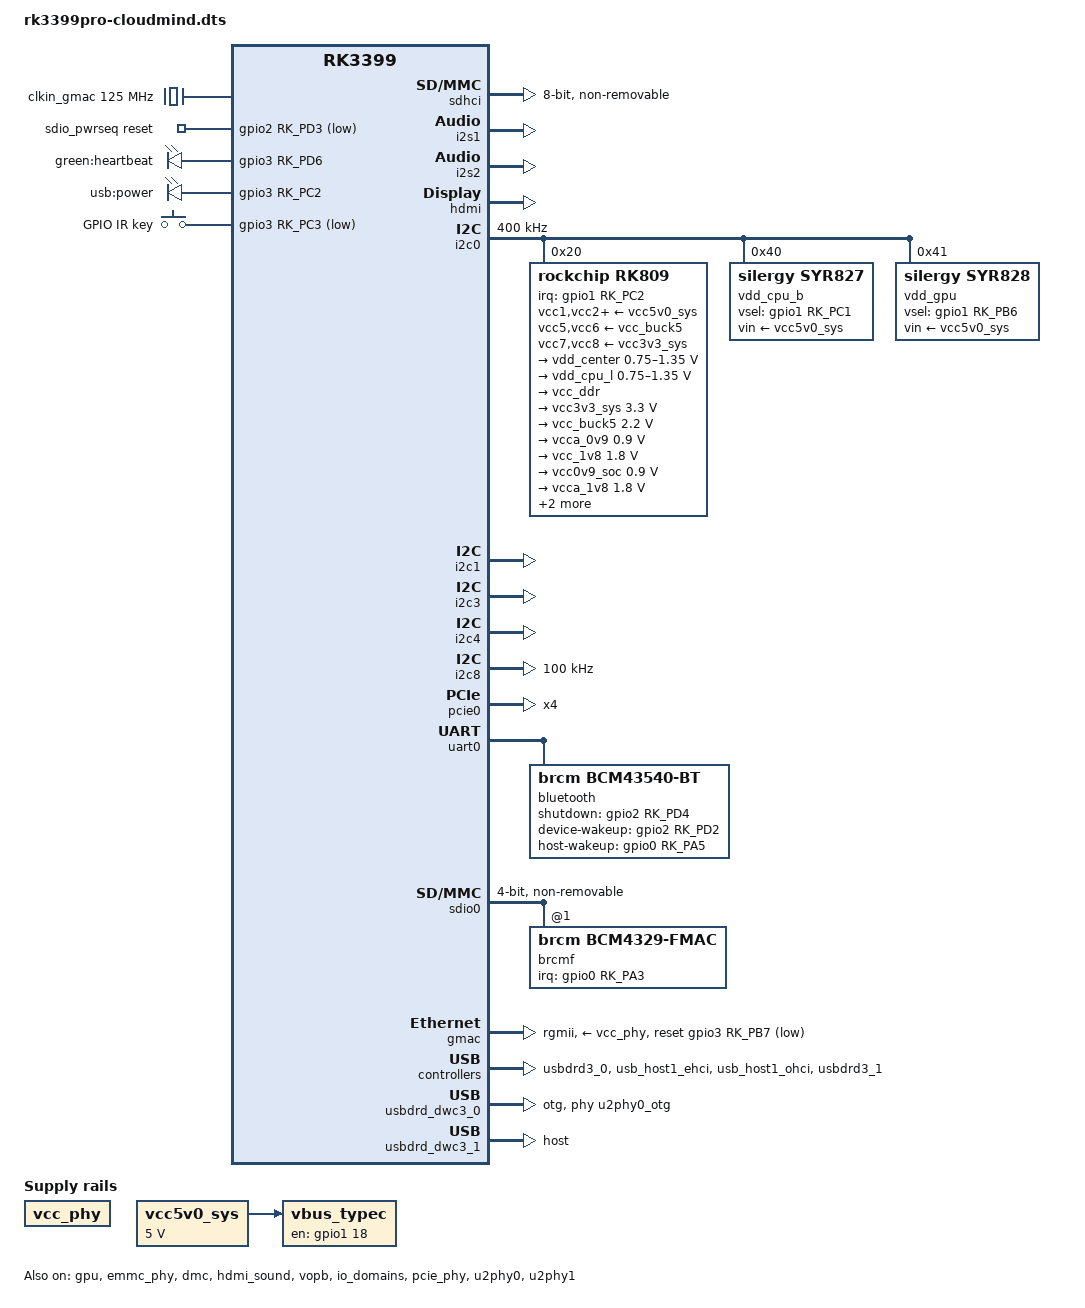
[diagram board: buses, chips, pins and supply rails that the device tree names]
// SPDX-License-Identifier: (GPL-2.0+ OR MIT)
/*
 * Copyright (c) 2019 Fuzhou Rockchip Electronics Co., Ltd
 * Copyright (c) 2019 Radxa Limited
 * Copyright (c) 2019 Amarula Solutions(India)
 */

/dts-v1/;
#include "rk3399.dtsi"
#include <dt-bindings/pwm/pwm.h>

/ {
	compatible = "rockchip,rk3399pro-evb-v11-linux", "rockchip,rk3399pro";
	chosen {
		stdout-path = "serial2:1500000n8";
	};
	clkin_gmac: external-gmac-clock {
		compatible = "fixed-clock";
		clock-frequency = <125000000>;
		clock-output-names = "clkin_gmac";
		#clock-cells = <0>;
	};

	fiq_debugger: fiq-debugger {
		compatible = "rockchip,fiq-debugger";
		rockchip,serial-id = <2>;
		rockchip,wake-irq = <0>;
		rockchip,irq-mode-enable = <0>;  /* If enable uart uses irq instead of fiq */
		rockchip,baudrate = <1500000>;  /* Only 115200 and 1500000 */
		pinctrl-names = "default";
		pinctrl-0 = <&uart2c_xfer>;
		interrupts = <GIC_SPI 150 IRQ_TYPE_LEVEL_HIGH 0>;
	};

	sdio_pwrseq: sdio-pwrseq {
		compatible = "mmc-pwrseq-simple";
		clocks = <&rk809 1>;
		clock-names = "ext_clock";
		pinctrl-names = "default";
		pinctrl-0 = <&wifi_enable_h>;

		/*
		 * On the module itself this is one of these (depending
		 * on the actual card populated):
		 * - SDIO_RESET_L_WL_REG_ON
		 * - PDN (power down when low)
		 */
		reset-gpios = <&gpio2 RK_PD3 GPIO_ACTIVE_LOW>;
	};


	vbus_typec: vbus-typec-regulator {
		compatible = "regulator-fixed";
		enable-active-high;
		gpio = <&gpio1 18 GPIO_ACTIVE_HIGH>;
		pinctrl-names = "default";
		pinctrl-0 = <&vcc5v0_typec0_en>;
		regulator-name = "vbus_typec";
		vin-supply = <&vcc5v0_sys>;
	};

	vcc_phy: vcc-phy-regulator {
		compatible = "regulator-fixed";
		regulator-name = "vcc_phy";
		regulator-always-on;
		regulator-boot-on;
	};

	vcc5v0_sys: vccsys {
		compatible = "regulator-fixed";
		regulator-name = "vcc5v0_sys";
		regulator-always-on;
		regulator-boot-on;
		regulator-min-microvolt = <5000000>;
		regulator-max-microvolt = <5000000>;
	};

	dw_hdmi_audio: dw-hdmi-audio {
		status = "okay";
		compatible = "rockchip,dw-hdmi-audio";
		#sound-dai-cells = <0>;
	};

	leds {
		compatible = "gpio-leds";
		pinctrl-names = "default";
		pinctrl-0 = <&work_led_pin &usb_power_pin>;
		work_led: led-0 {
			label = "green:heartbeat";
			linux,default-trigger = "heartbeat";
			gpios = <&gpio3 RK_PD6 GPIO_ACTIVE_HIGH>;
		};

		usb_pwr: usb-pwr {
			label = "usb:power";
			gpios = <&gpio3 RK_PC2 GPIO_ACTIVE_HIGH>;
		};
	};

	gpio-keys {
		compatible = "gpio-keys";
		autorepeat;
		pinctrl-names = "default";
		pinctrl-0 = <&ir_gpio_key>;

		key-power {
			debounce-interval = <100>;
			gpios = <&gpio3 RK_PC3 GPIO_ACTIVE_LOW>;
			label = "GPIO IR key";
		};
	};
};

&cpu_l0 {
	cpu-supply = <&vdd_cpu_l>;
};

&cpu_l1 {
	cpu-supply = <&vdd_cpu_l>;
};

&cpu_l2 {
	cpu-supply = <&vdd_cpu_l>;
};

&cpu_l3 {
	cpu-supply = <&vdd_cpu_l>;
};

&cpu_b0 {
	cpu-supply = <&vdd_cpu_b>;
};

&cpu_b1 {
	cpu-supply = <&vdd_cpu_b>;
};

&gpu {
	status = "okay";
	mali-supply = <&vdd_gpu>;
};

&sdhci {
	bus-width = <8>;
	mmc-hs400-1_8v;
	mmc-hs400-enhanced-strobe;
	non-removable;
	keep-power-in-suspend;
	status = "okay";
};

&emmc_phy {
	status = "okay";
};


&dmc {
	status = "okay";
	center-supply = <&vdd_center>;
};


&fiq_debugger {
	pinctrl-0 = <&uart2a_xfer>;
};



&i2s1 {
	status = "okay";
	#sound-dai-cells = <0>;
};

&i2s2 {
	#sound-dai-cells = <0>;
	status = "okay";
};

&hdmi_sound {
	status = "okay";
	rockchip,jack-det;
};


&hdmi {
	ddc-i2c-bus = <&i2c3>;
	pinctrl-names = "default";
	pinctrl-0 = <&hdmi_cec>;
	status = "okay";
};



&vopb {
	status = "okay";
};

&vopb_mmu {
	status = "okay";
};

&i2c0 {
	status = "okay";
	i2c-scl-rising-time-ns = <180>;
	i2c-scl-falling-time-ns = <30>;
	clock-frequency = <400000>;

	rk809: pmic@20 {
		compatible = "rockchip,rk809";
		reg = <0x20>;
		interrupt-parent = <&gpio1>;
		interrupts = <RK_PC2 IRQ_TYPE_LEVEL_LOW>;
		pinctrl-names = "default", "pmic-sleep",
				"pmic-power-off", "pmic-reset";
		pinctrl-0 = <&pmic_int_l>;
		pinctrl-1 = <&soc_slppin_slp>, <&rk809_slppin_slp>;
		pinctrl-2 = <&soc_slppin_gpio>, <&rk809_slppin_pwrdn>;
		pinctrl-3 = <&soc_slppin_gpio>, <&rk809_slppin_null>;
		rockchip,system-power-controller;
		pmic-reset-func = <0>;
		wakeup-source;
		#clock-cells = <1>;
		clock-output-names = "rk808-clkout1", "rk808-clkout2";

		vcc1-supply = <&vcc5v0_sys>;
		vcc2-supply = <&vcc5v0_sys>;
		vcc3-supply = <&vcc5v0_sys>;
		vcc4-supply = <&vcc5v0_sys>;
		vcc5-supply = <&vcc_buck5>;
		vcc6-supply = <&vcc_buck5>;
		vcc7-supply = <&vcc3v3_sys>;
		vcc8-supply = <&vcc3v3_sys>;
		vcc9-supply = <&vcc5v0_sys>;

		pwrkey {
			status = "okay";
		};

		rtc {
			status = "okay";
		};

		pinctrl_rk8xx: pinctrl_rk8xx {
			gpio-controller;
			#gpio-cells = <2>;

			rk809_slppin_null: rk809_slppin_null {
				pins = "gpio_slp";
				function = "pin_fun0";
			};

			rk809_slppin_slp: rk809_slppin_slp {
				pins = "gpio_slp";
				function = "pin_fun1";
			};

			rk809_slppin_pwrdn: rk809_slppin_pwrdn {
				pins = "gpio_slp";
				function = "pin_fun2";
			};

			rk809_slppin_rst: rk809_slppin_rst {
				pins = "gpio_slp";
				function = "pin_fun3";
			};
		};

		regulators {
			vdd_center: DCDC_REG1 {
				regulator-always-on;
				regulator-boot-on;
				regulator-min-microvolt = <750000>;
				regulator-max-microvolt = <1350000>;
				regulator-initial-mode = <0x2>;
				regulator-name = "vdd_center";
				regulator-state-mem {
					regulator-off-in-suspend;
					regulator-suspend-microvolt = <900000>;
				};
			};

			vdd_cpu_l: DCDC_REG2 {
				regulator-always-on;
				regulator-boot-on;
				regulator-min-microvolt = <750000>;
				regulator-max-microvolt = <1350000>;
				regulator-ramp-delay = <6001>;
				regulator-initial-mode = <0x2>;
				regulator-name = "vdd_cpu_l";
				regulator-state-mem {
					regulator-off-in-suspend;
				};
			};

			vcc_ddr: DCDC_REG3 {
				regulator-always-on;
				regulator-boot-on;
				regulator-name = "vcc_ddr";
				regulator-initial-mode = <0x2>;
				regulator-state-mem {
					regulator-on-in-suspend;
				};
			};

			vcc3v3_sys: DCDC_REG4 {
				regulator-always-on;
				regulator-boot-on;
				regulator-min-microvolt = <3300000>;
				regulator-max-microvolt = <3300000>;
				regulator-initial-mode = <0x2>;
				regulator-name = "vcc3v3_sys";
				regulator-state-mem {
					regulator-on-in-suspend;
					regulator-suspend-microvolt = <3300000>;
				};
			};

			vcc_buck5: DCDC_REG5 {
				regulator-always-on;
				regulator-boot-on;
				regulator-min-microvolt = <2200000>;
				regulator-max-microvolt = <2200000>;
				regulator-name = "vcc_buck5";
				regulator-state-mem {
					regulator-on-in-suspend;
					regulator-suspend-microvolt = <2200000>;
				};
			};

			vcca_0v9: LDO_REG1 {
				regulator-always-on;
				regulator-boot-on;
				regulator-min-microvolt = <900000>;
				regulator-max-microvolt = <900000>;
				regulator-name = "vcca_0v9";
				regulator-state-mem {
					regulator-off-in-suspend;
				};
			};

			vcc_1v8: LDO_REG2 {
				regulator-always-on;
				regulator-boot-on;
				regulator-min-microvolt = <1800000>;
				regulator-max-microvolt = <1800000>;

				regulator-name = "vcc_1v8";
				regulator-state-mem {
					regulator-on-in-suspend;
					regulator-suspend-microvolt = <1800000>;
				};
			};

			vcc0v9_soc: LDO_REG3 {
				regulator-always-on;
				regulator-boot-on;
				regulator-min-microvolt = <900000>;
				regulator-max-microvolt = <900000>;

				regulator-name = "vcc0v9_soc";
				regulator-state-mem {
					regulator-on-in-suspend;
					regulator-suspend-microvolt = <900000>;
				};
			};

			vcca_1v8: LDO_REG4 {
				regulator-always-on;
				regulator-boot-on;
				regulator-min-microvolt = <1800000>;
				regulator-max-microvolt = <1800000>;

				regulator-name = "vcca_1v8";
				regulator-state-mem {
					regulator-off-in-suspend;
				};
			};

			vdd1v5_dvp: LDO_REG5 {
				regulator-always-on;
				regulator-boot-on;
				regulator-min-microvolt = <1500000>;
				regulator-max-microvolt = <1500000>;

				regulator-name = "vdd1v5_dvp";
				regulator-state-mem {
					regulator-off-in-suspend;
				};
			};

			vcc_1v5: LDO_REG6 {
				regulator-always-on;
				regulator-boot-on;
				regulator-min-microvolt = <1500000>;
				regulator-max-microvolt = <1500000>;

				regulator-name = "vcc_1v5";
				regulator-state-mem {
					regulator-off-in-suspend;
				};
			};

			vcc_3v0: LDO_REG7 {
				regulator-always-on;
				regulator-boot-on;
				regulator-min-microvolt = <3000000>;
				regulator-max-microvolt = <3000000>;

				regulator-name = "vcc_3v0";
				regulator-state-mem {
					regulator-off-in-suspend;
				};
			};

			vccio_sd: LDO_REG8 {
				regulator-always-on;
				regulator-boot-on;
				regulator-min-microvolt = <1800000>;
				regulator-max-microvolt = <3300000>;

				regulator-name = "vccio_sd";
				regulator-state-mem {
					regulator-off-in-suspend;
				};
			};

			vcc_sd: LDO_REG9 {
				regulator-always-on;
				regulator-boot-on;
				regulator-min-microvolt = <3300000>;
				regulator-max-microvolt = <3300000>;

				regulator-name = "vcc_sd";
				regulator-state-mem {
					regulator-off-in-suspend;
				};
			};

			vcc5v0_usb: SWITCH_REG1 {
				regulator-name = "vcc5v0_usb";
				regulator-state-mem {
					regulator-on-in-suspend;
				};
			};

			vccio_3v3: SWITCH_REG2 {
				regulator-always-on;
				regulator-boot-on;
				regulator-name = "vccio_3v3";
				regulator-state-mem {
					regulator-off-in-suspend;
				};
			};
		};
	};

	vdd_cpu_b: syr827@40 {
		compatible = "silergy,syr827";
		reg = <0x40>;
		vin-supply = <&vcc5v0_sys>;
		regulator-compatible = "fan53555-reg";
		pinctrl-0 = <&vsel1_gpio>;
		vsel-gpios = <&gpio1 RK_PC1 GPIO_ACTIVE_HIGH>;
		regulator-name = "vdd_cpu_b";
		regulator-min-microvolt = <712500>;
		regulator-max-microvolt = <1500000>;
		regulator-ramp-delay = <2300>;
		fcs,suspend-voltage-selector = <1>;
		regulator-always-on;
		regulator-boot-on;
		regulator-initial-state = <3>;
		regulator-state-mem {
			regulator-off-in-suspend;
		};
	};

	vdd_gpu: syr828@41 {
		compatible = "silergy,syr828";
		reg = <0x41>;
		vin-supply = <&vcc5v0_sys>;
		regulator-compatible = "fan53555-reg";
		pinctrl-0 = <&vsel2_gpio>;
		vsel-gpios = <&gpio1 RK_PB6 GPIO_ACTIVE_HIGH>;
		regulator-name = "vdd_gpu";
		regulator-min-microvolt = <735000>;
		regulator-max-microvolt = <1400000>;
		regulator-ramp-delay = <1000>;
		fcs,suspend-voltage-selector = <1>;
		regulator-always-on;
		regulator-boot-on;
		regulator-initial-state = <3>;
		regulator-state-mem {
			regulator-off-in-suspend;
		};
	};
};

&i2c1 {
	status = "okay";
	i2c-scl-rising-time-ns = <140>;
	i2c-scl-falling-time-ns = <30>;
};

&i2c3 {
	status = "okay";
	i2c-scl-rising-time-ns = <345>;
	i2c-scl-falling-time-ns = <11>;
};


&i2c4 {
	status = "okay";
	i2c-scl-rising-time-ns = <345>;
	i2c-scl-falling-time-ns = <11>;
};

&i2c8 {
	status = "okay";
	i2c-scl-rising-time-ns = <345>;
	i2c-scl-falling-time-ns = <11>;
	clock-frequency = <100000>;
};



&io_domains {
	status = "okay";
	bt656-supply = <&vcca_1v8>;
	audio-supply = <&vcca_1v8>;
	sdmmc-supply = <&vccio_sd>;
	gpio1830-supply = <&vcc_3v0>;
};

#if 0
M2 M-KEY PCIE IO MAP 
|------------------------------------|---------|
|-------------------------------543--|4------|
L5-->R82-->Q6-->REST_DEVICE   	GPIO0_12 GPIO0_B4 | GPIO1_10 care bood
L4-->R78-->Q8-->CLKREQ 			GPIO4_24 GPIO4_D0
L3-->R77-->Q9-->WAKE_UP_DEVICE  GPIO0_8  GPIO0_B1
R4-->R80-->Q7-->32K
#endif 

&pcie_phy {
	status = "okay";
};


&pcie0 {
	ep-gpios = <&gpio0 RK_PB4 GPIO_ACTIVE_LOW>;
	num-lanes = <4>;
	pinctrl-names = "default";
	pinctrl-0 = <&pcie_clkreqn_cpm>;
	status = "okay";
};

&pmu_io_domains {
	status = "okay";
	pmu1830-supply = <&vcc_1v8>;
};


&uart0 {
	pinctrl-names = "default";
	pinctrl-0 = <&uart0_xfer &uart0_cts>;
	status = "okay";
	bluetooth {
		compatible = "brcm,bcm43540-bt";
		shutdown-gpios = <&gpio2 RK_PD4 GPIO_ACTIVE_HIGH>;
		device-wakeup-gpios = <&gpio2 RK_PD2 GPIO_ACTIVE_HIGH>;
		host-wakeup-gpios = <&gpio0 RK_PA5 GPIO_ACTIVE_HIGH>;
		
		max-speed = <2500000>;
		pinctrl-names = "default", "rts_gpio";
		pinctrl-0 = <&uart0_rts>, <&bt_irq_gpio>;
		pinctrl-1 = <&uart0_gpios>;
	};
};


&sdio0 {
	supports-sdio;
	disable-wp;
	bus-width = <4>;
#if 0
	clock-frequency = <15000000>;
	max-frequency = <15000000>;
#else 
	clock-frequency = <150000000>;
	max-frequency = <200000000>;
#endif
	cap-sdio-irq;
	cap-sd-highspeed;
	keep-power-in-suspend;
	mmc-pwrseq = <&sdio_pwrseq>;
	non-removable;
	num-slots = <1>;
	pinctrl-names = "default";
	pinctrl-0 = <&sdio0_bus4 &sdio0_cmd &sdio0_clk>;
	sd-uhs-sdr104;
	status = "okay";

	#address-cells = <1>;
	#size-cells = <0>;
	brcmf: wifi@1 {
		reg = <1>;
		compatible = "brcm,bcm4329-fmac";
		interrupt-parent = <&gpio0>;
		interrupts = <RK_PA3 GPIO_ACTIVE_HIGH>;
		interrupt-names = "host-wake";
		brcm,drive-strength = <5>;
		pinctrl-names = "default";
		pinctrl-0 = <&wifi_host_wake_l>;
	};
};


&gmac {
	phy-supply = <&vcc_phy>;
	phy-mode = "rgmii";
	clock_in_out = "input";
	snps,reset-gpio = <&gpio3 RK_PB7 GPIO_ACTIVE_LOW>;
	snps,reset-active-low;
	snps,reset-delays-us = <0 10000 50000>;
	assigned-clocks = <&cru SCLK_RMII_SRC>;
	assigned-clock-parents = <&clkin_gmac>;
	pinctrl-names = "default";
	pinctrl-0 = <&rgmii_pins>;
	tx_delay = <0x28>;
	rx_delay = <0x11>;
	status = "okay";
};

//---------------------USB0
&u2phy0 {
	status = "okay";
	u2phy0_otg: otg-port {
		status = "okay";
	};
};

&usbdrd3_0 {
	extcon = <&u2phy0>;
	status = "okay";
};

&usbdrd_dwc3_0 {
	status = "okay";
	maximum-speed = "high-speed";
	phys = <&u2phy0_otg>;
    phy-names = "usb2-phy";
	dr_mode = "otg";
	//dr_mode = "peripheral";
	usb-role-switch;
};

//--------------usb1
&u2phy1 {
	status = "okay";
	u2phy1_otg: otg-port {
		status = "okay";
	};
	u2phy1_host: host-port {
		status = "okay";
	};
};

&usb_host1_ehci {
	status = "okay";
};

&usb_host1_ohci {
	status = "okay";
};

&usbdrd3_1 {
	status = "okay";
};

&usbdrd_dwc3_1 {
	status = "okay";
	dr_mode = "host";
};


&pinctrl {
	pinctrl-names = "default";
	pinctrl-0 = <&npu_ref_clk>;

	npu_clk {
		npu_ref_clk: npu-ref-clk {
		     rockchip,pins =
			     <0 RK_PA2 1 &pcfg_pull_none>;
	     };
	};

	led {
		work_led_pin: work-led-pin {
			rockchip,pins =
				<3 RK_PD6 RK_FUNC_GPIO &pcfg_pull_up>;
		};

		usb_power_pin: usb-pwr-pin {
			rockchip,pins =
				<3 RK_PC2 RK_FUNC_GPIO &pcfg_pull_up>;
		};
	};

	key {
		ir_gpio_key: ir-gpio-key {
			rockchip,pins =
				<3 RK_PC3 RK_FUNC_GPIO &pcfg_pull_up>;
		};
	};


	pcie {
		m2_mkey_reset: m2-mkey-reset {
			rockchip,pins =
				<1 RK_PB2 RK_FUNC_GPIO &pcfg_pull_up>;
		};
	};

	pmic {
		pmic_int_l: pmic-int-l {
			rockchip,pins =
				<1 RK_PC2 RK_FUNC_GPIO &pcfg_pull_up>;
		};
		vsel1_gpio: vsel1-gpio {
			rockchip,pins =
				<1 RK_PC1 RK_FUNC_GPIO &pcfg_pull_down>;
		};
		vsel2_gpio: vsel2-gpio {
			rockchip,pins =
				<1 RK_PB6 RK_FUNC_GPIO &pcfg_pull_down>;
		};

		soc_slppin_gpio: soc-slppin-gpio {
			rockchip,pins =
				<1 RK_PA5 RK_FUNC_GPIO &pcfg_output_low>;
		};

		soc_slppin_slp: soc-slppin-slp {
			rockchip,pins =
				<1 RK_PA5 1 &pcfg_pull_down>;
		};

		soc_slppin_rst: soc-slppin-rst {
			rockchip,pins =
				<1 RK_PA5 2 &pcfg_pull_none>;
		};
	};

	sdio-pwrseq {
		wifi_enable_h: wifi-enable-h {
			rockchip,pins =
				<2 RK_PD3 RK_FUNC_GPIO &pcfg_pull_none>;
		};

		wifi_host_wake_l: wifi-host-wake-l {
			rockchip,pins = 
				<0 RK_PA3 RK_FUNC_GPIO &pcfg_pull_none>;
		};
	};

	usb-typec {
		usbc0_int: usbc0-int {
			rockchip,pins = <1 RK_PA2 RK_FUNC_GPIO &pcfg_pull_up>;
		};

		vcc5v0_typec0_en: vcc5v0-typec0-en {
			rockchip,pins = <1 RK_PC2 RK_FUNC_GPIO &pcfg_pull_none>;
		};
	};

	wireless-bluetooth {
		bt_irq_gpio: bt-irq-gpio {
			rockchip,pins =
				<0 RK_PA5 RK_FUNC_GPIO &pcfg_pull_down>;
		};

		uart0_gpios: uart0-gpios {
			rockchip,pins =
				<2 RK_PC3 RK_FUNC_GPIO &pcfg_pull_none>;
		};
	};
};

/* DON'T PUT ANYTHING BELOW HERE.  PUT IT ABOVE PINCTRL */
/* DON'T PUT ANYTHING BELOW HERE.  PUT IT ABOVE PINCTRL */
/* DON'T PUT ANYTHING BELOW HERE.  PUT IT ABOVE PINCTRL */
